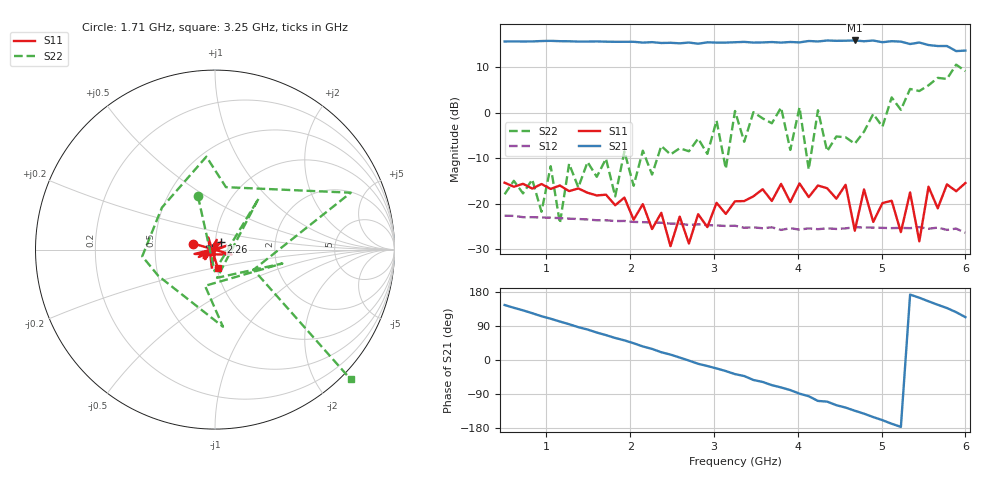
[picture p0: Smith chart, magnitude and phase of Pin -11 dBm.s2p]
! RsaToolbox (C) 2015 Rohde & Schwarz America
! Number of points: 51
! Number of ports: 2
! Balanced ports?: No
# Hz S RI R 50
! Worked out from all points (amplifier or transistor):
!   51 points, 500 MHz to 6 GHz, reference 50 ohm
!   highest |S21| = 15.9 dB at 4.68 GHz (marker M1)
!   |S21| within 3 dB of that: start of sweep to end of sweep
!   unconditionally stable (mu >= 1): start of sweep to 3.004 GHz; 3.047 GHz to 3.218 GHz; 4.29 GHz to 4.796 GHz (the widest 3 of 6)
!   at 1.38 GHz: K = 1.35, MAG = 15.9 dB, |S12| = -23.4 dB
!   at 3.25 GHz: K = 0.10, MSG = 20.2 dB, |S12| = -24.8 dB
!   at 6 GHz: K = -14.84, MSG = 20.0 dB, |S12| = -26.4 dB
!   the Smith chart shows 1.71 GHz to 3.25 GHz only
!   S11 on the Smith chart (normalised r, x): 1.71 GHz: 0.78, +0.05; 2.26 GHz: 1.07, +0.09; 3.25 GHz: 1.01, -0.21
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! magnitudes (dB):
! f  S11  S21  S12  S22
! 500 MHz  -15.4  15.7  -22.6  -17.9
! 940 MHz  -15.7  15.8  -23.0  -21.8
! 1.05 GHz  -16.7  15.8  -23.1  -11.7
! 1.16 GHz  -16.0  15.7  -23.2  -24.3
! 1.27 GHz  -17.2  15.7  -23.3  -11.2
! 1.49 GHz  -17.6  15.6  -23.5  -10.8
! 1.71 GHz  -18.0  15.6  -23.6  -10.1
! 2.26 GHz  -25.6  15.5  -24.1  -13.6
! 2.37 GHz  -22.0  15.3  -24.2  -7.3
! 3.03 GHz  -19.8  15.4  -24.8  -1.7
! 3.14 GHz  -22.2  15.4  -24.9  -12.3
! 3.25 GHz  -19.5  15.5  -24.8  0.4
! 3.8 GHz  -15.6  15.4  -25.7  1.1
! 3.91 GHz  -19.6  15.5  -25.4  -8.2
! 4.02 GHz  -15.5  15.5  -25.7  1.2
! 4.13 GHz  -18.5  15.8  -25.4  -12.5
! 4.24 GHz  -16.0  15.7  -25.6  0.5
! 4.68 GHz  -25.9  15.9  -25.1  -6.8
! 5.12 GHz  -19.3  15.7  -25.4  3.4
! 5.45 GHz  -28.3  15.4  -25.1  4.8
! 5.56 GHz  -16.3  14.9  -25.5  6.0
! 6 GHz  -15.4  13.7  -26.4  9.1
